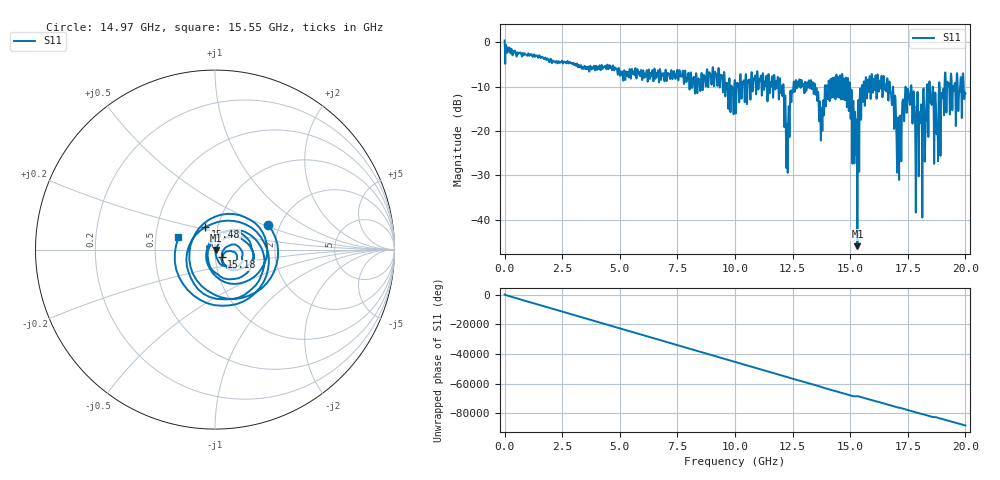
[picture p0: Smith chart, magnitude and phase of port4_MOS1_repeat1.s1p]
! MS46122B
! 2250307/22442219
! 7/25/2025 1:50:29 PM
! C:\USERS\SPARKY\DOCUMENTS\VNA_DATA\JULY25_2025\3K\PORT4_MOS1_REPEAT1.S1P
! CHANNEL.1
! TR.MEASUREMENT
! RAW.DATA
# GHZ S RI R 50.0
! FREQ.GHZ  S11RE  S11IM
!; PortSelection: Port_1
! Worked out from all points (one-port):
!   10001 points, 1 MHz to 20 GHz, reference 50 ohm
!   lowest |S11| = -45.9 dB at 15.31 GHz (marker M1), VSWR 1.01, Z = 50.4 - j0.252 ohm
!   |S11| at or under -10 dB: 14.99 GHz to 15.51 GHz (513.6 MHz wide, 3.37 % of centre); 16.73 GHz to 17.64 GHz (908.8 MHz wide, 5.29 % of centre); 17.66 GHz to 18.33 GHz (672.2 MHz wide, 3.74 % of centre) (the widest 3 of 87)
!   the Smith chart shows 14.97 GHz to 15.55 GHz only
!   S11 on the Smith chart (normalised r, x): 14.97 GHz: 1.74, +0.53; 15.18 GHz: 1.07, -0.09; 15.48 GHz: 0.87, +0.22; 15.55 GHz: 0.66, +0.09
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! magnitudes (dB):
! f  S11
! 1 MHz  0.4
! 2.501 GHz  -4.2
! 5.001 GHz  -7.6
! 7.501 GHz  -6.3
! 9.215 GHz  -8.5
! 10 GHz  -8.7
! 11.78 GHz  -8.8
! 12.03 GHz  -9.9
! 12.29 GHz  -29.4
! 12.5 GHz  -11.2
! 13.29 GHz  -8.5
! 13.73 GHz  -22.0
! 14.15 GHz  -8.3
! 14.97 GHz  -9.7
! 15 GHz  -11.5
! 15.18 GHz  -25.1
! 15.31 GHz  -45.9
! 15.48 GHz  -17.3
! 15.55 GHz  -13.4
! 16.68 GHz  -11.0
! 17.12 GHz  -30.7
! 17.5 GHz  -10.5
! 17.71 GHz  -17.2
! 17.92 GHz  -11.6
! 18.51 GHz  -13.3
! 18.73 GHz  -15.8
! 19.19 GHz  -11.9
! 20 GHz  -11.6
